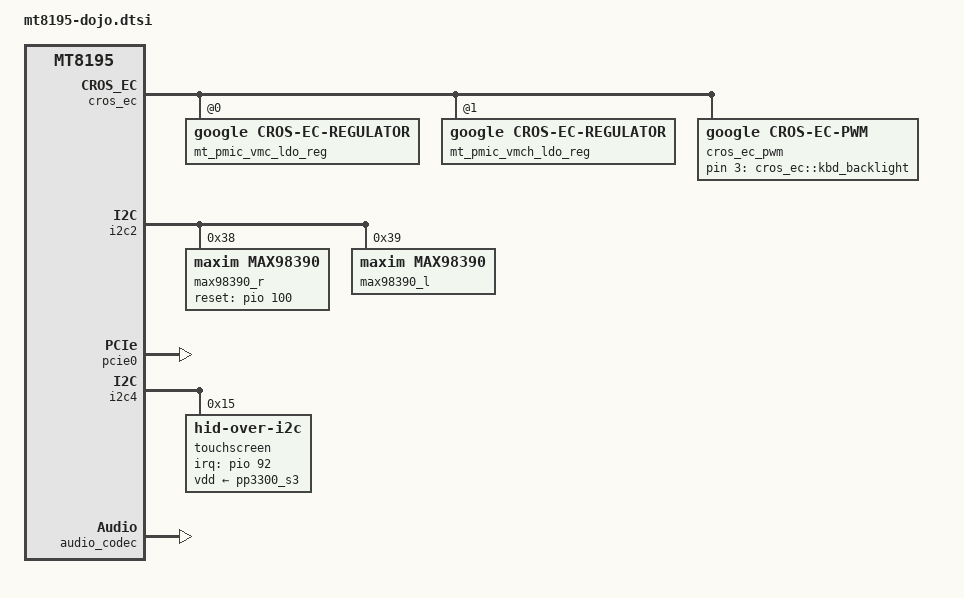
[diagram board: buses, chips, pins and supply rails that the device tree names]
// SPDX-License-Identifier: (GPL-2.0 OR MIT)
/*
 * Copyright (C) 2022 MediaTek Inc.
 */

/ {
	pwmleds {
		compatible = "pwm-leds";
		keyboard_backlight: keyboard-backlight {
			label = "cros_ec::kbd_backlight";
			pwms = <&cros_ec_pwm 3>;
			max-brightness = <1023>;
		};
	};
};

&cros_ec {
	mt_pmic_vmc_ldo_reg: regulator@0 {
		compatible = "google,cros-ec-regulator";
		regulator-min-microvolt = <1200000>;
		regulator-max-microvolt = <3600000>;
		reg = <0>;
	};
	mt_pmic_vmch_ldo_reg: regulator@1 {
		compatible = "google,cros-ec-regulator";
		regulator-min-microvolt = <2700000>;
		regulator-max-microvolt = <3600000>;
		reg = <1>;
	};
	cros_ec_pwm: ec-pwm {
		compatible = "google,cros-ec-pwm";
		#pwm-cells = <1>;
		status = "okay";
	};
};

&i2c2 {
	max98390_r: max98390@38 {
		compatible = "maxim,max98390";
		reg = <0x38>;
		reset-gpios = <&pio 100 GPIO_ACTIVE_HIGH>;
		maxim,dsm_param_name = "dsm_param_R_Google_Dojo.bin";
		status = "okay";
	};

	max98390_l: max98390@39 {
		compatible = "maxim,max98390";
		reg = <0x39>;
		maxim,dsm_param_name = "dsm_param_L_Google_Dojo.bin";
		status = "okay";
	};

};

&mmc1_pins_default {
	pins_cmd_dat {
		drive-strength = <MTK_DRIVE_10mA>;
	};

	pins_clk {
		drive-strength = <MTK_DRIVE_10mA>;
	};
};

&pcie0 {
	status = "okay";
};

&pio_default{
	low_power_pu_pd_pins {
		pinmux = <PINMUX_GPIO8__FUNC_GPIO8>,
			 <PINMUX_GPIO9__FUNC_GPIO9>,
			 <PINMUX_GPIO25__FUNC_GPIO25>,
			 <PINMUX_GPIO26__FUNC_GPIO26>,
			 <PINMUX_GPIO46__FUNC_GPIO46>,
			 <PINMUX_GPIO47__FUNC_GPIO47>,
			 <PINMUX_GPIO48__FUNC_GPIO48>,
			 <PINMUX_GPIO65__FUNC_GPIO65>,
			 <PINMUX_GPIO66__FUNC_GPIO66>,
			 <PINMUX_GPIO67__FUNC_GPIO67>,
			 <PINMUX_GPIO68__FUNC_GPIO68>,
			 <PINMUX_GPIO128__FUNC_GPIO128>,
			 <PINMUX_GPIO129__FUNC_GPIO129>;
		input-enable;
		bias-pull-down;
	};

	low_power_no_hdmi_pins {
		pinmux = <PINMUX_GPIO31__FUNC_GPIO31>,
			 <PINMUX_GPIO32__FUNC_GPIO32>,
			 <PINMUX_GPIO33__FUNC_GPIO33>,
			 <PINMUX_GPIO34__FUNC_GPIO34>,
			 <PINMUX_GPIO35__FUNC_GPIO35>;
		input-enable;
		bias-pull-down;
	};
};

&i2c4 {
	/delete-node/ touchscreen@10;

	touchscreen: touchscreen@15 {
		compatible = "hid-over-i2c";
		reg = <0x15>;
		interrupt-parent = <&pio>;
		interrupts = <92 IRQ_TYPE_LEVEL_LOW>;
		interrupts-extended = <&pio 92 IRQ_TYPE_LEVEL_LOW>;

		pinctrl-names = "default";
		pinctrl-0 = <&touchscreen_pins>;

		post-power-on-delay-ms = <10>;
		hid-descr-addr = <0x0001>;

		vdd-supply = <&pp3300_s3>;
	};
};

&sound {
	compatible = "mediatek,mt8195_mt6359_max98390_rt5682";
	model = "m8195_m98390_5682s";
	mediatek,dptx-codec = <&dp_tx>;
};

&audio_codec {
	realtek,amic-delay-ms = <250>;
	status = "okay";
};
